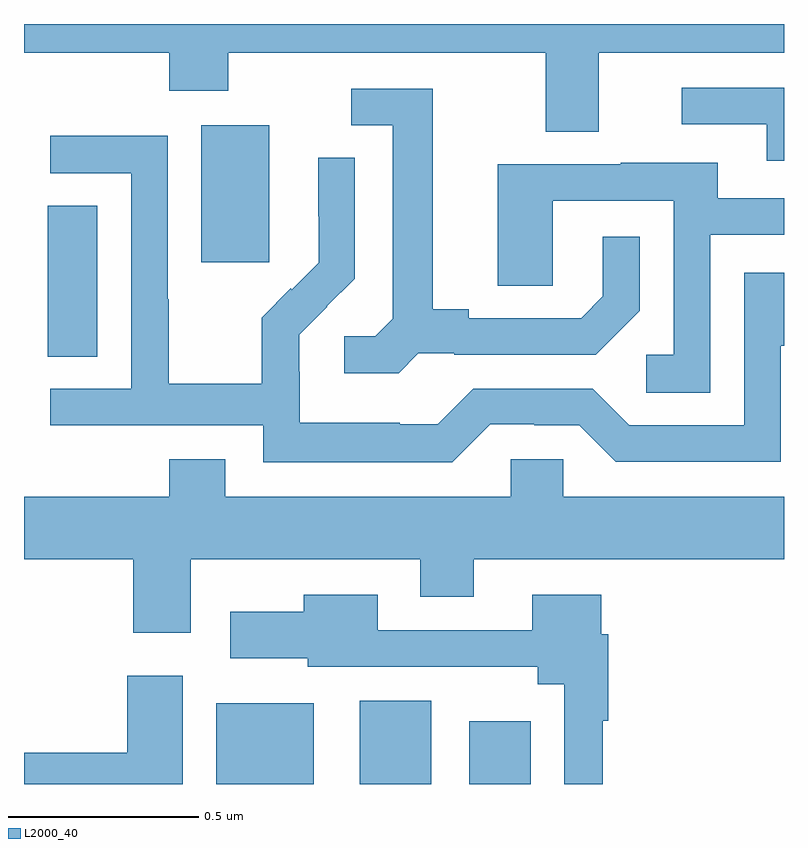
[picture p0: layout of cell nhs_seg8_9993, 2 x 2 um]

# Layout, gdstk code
import gdstk
lib = gdstk.Library(unit=1e-6, precision=1e-09)
def R(c, l, rs):  # rectangles x0, y0, x1, y1
    for r in rs: c.add(gdstk.rectangle(r[:2], r[2:], *l))
def P(c, l, *ps):  # polygons
    for p in ps: c.add(gdstk.Polygon(p, *l))
L2000_40 = (2000, 40)

nhs_seg8_9993 = lib.new_cell('nhs_seg8_9993')
R(nhs_seg8_9993, L2000_40, [(243.506,1123.9,243.763,1124.113), (243.884,1123.9,244.072,1124.119), (244.172,1123.9,244.333,1124.065), (243.062,1125.025,243.193,1125.422), (243.467,1125.273,243.646,1125.634)])
P(nhs_seg8_9993, L2000_40, [(244.513,1125.824),(245,1125.824),(245,1125.9),(243,1125.9),(243,1125.824),(243.382,1125.824),(243.382,1125.725),(243.537,1125.725),(243.537,1125.824),(244.373,1125.824),(244.373,1125.616),(244.513,1125.616)],
  [(245,1125.732),(244.731,1125.732),(244.731,1125.636),(244.955,1125.636),(244.955,1125.54),(245,1125.54)],
  [(244.038,1125.033),(244.132,1125.033),(244.132,1125.03),(244.504,1125.03),(244.62,1125.146),(244.62,1125.34),(244.523,1125.34),(244.523,1125.183),(244.466,1125.126),(244.171,1125.126),(244.171,1125.149),(244.075,1125.149),(244.075,1125.729),(243.861,1125.729),(243.861,1125.633),(243.971,1125.633),(243.971,1125.125),(243.924,1125.078),(243.843,1125.078),(243.843,1124.981),(243.986,1124.981)],
  [(244.227,1124.847),(244.343,1124.847),(244.343,1124.844),(244.461,1124.844),(244.557,1124.748),(244.992,1124.748),(244.992,1125.053),(245,1125.053),(245,1125.246),(244.896,1125.246),(244.896,1124.844),(244.593,1124.844),(244.497,1124.94),(244.182,1124.94),(244.089,1124.847),(243.989,1124.847),(243.989,1124.851),(243.726,1124.851),(243.726,1124.985),(243.724,1124.985),(243.724,1125.082),(243.798,1125.156),(243.797,1125.157),(243.87,1125.23),(243.87,1125.548),(243.774,1125.548),(243.774,1125.394),(243.776,1125.394),(243.776,1125.272),(243.705,1125.201),(243.702,1125.204),(243.625,1125.127),(243.625,1124.953),(243.381,1124.953),(243.381,1125.176),(243.378,1125.176),(243.378,1125.606),(243.069,1125.606),(243.069,1125.507),(243.282,1125.507),(243.282,1124.94),(243.069,1124.94),(243.069,1124.844),(243.63,1124.844),(243.63,1124.747),(244.127,1124.747)],
  [(244.806,1125.345),(245,1125.345),(245,1125.441),(244.825,1125.441),(244.825,1125.535),(244.571,1125.535),(244.571,1125.531),(244.247,1125.531),(244.247,1125.211),(244.392,1125.211),(244.392,1125.435),(244.71,1125.435),(244.71,1125.03),(244.638,1125.03),(244.638,1124.929),(244.806,1124.929)],
  [(243.439,1124.492),(244.043,1124.492),(244.043,1124.393),(244.183,1124.393),(244.183,1124.492),(245,1124.492),(245,1124.656),(244.419,1124.656),(244.419,1124.754),(244.281,1124.754),(244.281,1124.656),(243.529,1124.656),(243.529,1124.755),(243.382,1124.755),(243.382,1124.656),(243,1124.656),(243,1124.492),(243.287,1124.492),(243.287,1124.298),(243.439,1124.298)],
  [(244.523,1124.066),(244.538,1124.066),(244.538,1124.294),(244.519,1124.294),(244.519,1124.398),(244.337,1124.398),(244.337,1124.304),(243.931,1124.304),(243.931,1124.398),(243.736,1124.398),(243.736,1124.353),(243.543,1124.353),(243.543,1124.231),(243.747,1124.231),(243.747,1124.208),(244.352,1124.208),(244.352,1124.162),(244.422,1124.162),(244.422,1123.9),(244.523,1123.9)],
  [(243.418,1124.185),(243.272,1124.185),(243.272,1123.982),(243,1123.982),(243,1123.9),(243.418,1123.9)])

lib.write_gds('nhs_seg8_9993.gds')
